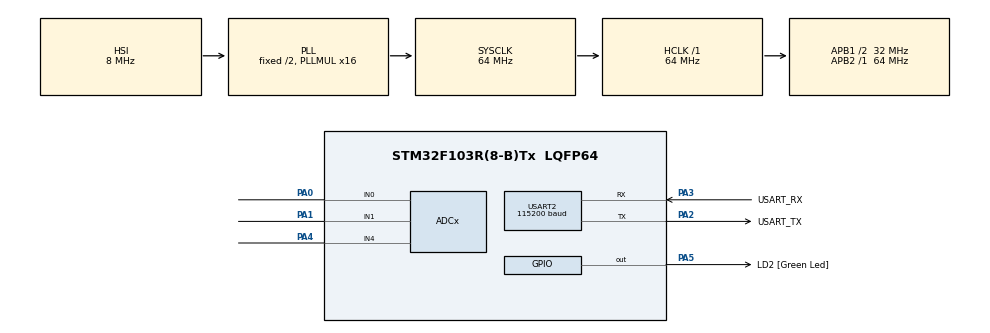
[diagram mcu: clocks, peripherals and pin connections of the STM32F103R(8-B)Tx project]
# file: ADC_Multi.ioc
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ADC1.Channel-0\#ChannelRegularConversion=ADC_CHANNEL_0
ADC1.Channel-1\#ChannelRegularConversion=ADC_CHANNEL_1
ADC1.Channel-2\#ChannelRegularConversion=ADC_CHANNEL_4
ADC1.Channel-3\#ChannelRegularConversion=ADC_CHANNEL_VREFINT
ADC1.ContinuousConvMode=DISABLE
ADC1.DiscontinuousConvMode=ENABLE
ADC1.ExternalTrigConv=ADC_SOFTWARE_START
ADC1.NbrOfConversion=4
ADC1.NbrOfDiscConversion=1
ADC1.Rank-0\#ChannelRegularConversion=ADC_REGULAR_RANK_1
ADC1.Rank-1\#ChannelRegularConversion=ADC_REGULAR_RANK_2
ADC1.Rank-2\#ChannelRegularConversion=ADC_REGULAR_RANK_3
ADC1.Rank-3\#ChannelRegularConversion=ADC_REGULAR_RANK_4
ADC1.SamplingTime-0\#ChannelRegularConversion=ADC_SAMPLETIME_55CYCLES_5
ADC1.SamplingTime-1\#ChannelRegularConversion=ADC_SAMPLETIME_55CYCLES_5
ADC1.SamplingTime-2\#ChannelRegularConversion=ADC_SAMPLETIME_55CYCLES_5
ADC1.SamplingTime-3\#ChannelRegularConversion=ADC_SAMPLETIME_239CYCLES_5
ADC1.ScanConvMode=ADC_SCAN_ENABLE
ADC1.master=1
Mcu.Family=STM32F1
Mcu.Name=STM32F103R(8-B)Tx
Mcu.Package=LQFP64
NVIC.PriorityGroup=NVIC_PRIORITYGROUP_4
PA0-WKUP.Mode=IN0
PA0-WKUP.Signal=ADCx_IN0
PA1.Mode=IN1
PA1.Signal=ADCx_IN1
PA13.GPIO_Label=TMS
PA13.Mode=Serial_Wire
PA13.Signal=SYS_JTMS-SWDIO
PA14.GPIO_Label=TCK
PA14.Mode=Serial_Wire
PA14.Signal=SYS_JTCK-SWCLK
PA2.GPIO_Label=USART_TX
PA2.GPIO_Mode=GPIO_MODE_AF_PP
PA2.GPIO_PuPd=GPIO_NOPULL
PA2.GPIO_Speed=GPIO_SPEED_FREQ_LOW
PA2.Mode=Asynchronous
PA2.Signal=USART2_TX
PA3.GPIO_Label=USART_RX
PA3.GPIO_PuPd=GPIO_NOPULL
PA3.GPIO_Speed=GPIO_SPEED_FREQ_LOW
PA3.Mode=Asynchronous
PA3.Signal=USART2_RX
PA4.Mode=IN4
PA4.Signal=ADCx_IN4
PA5.GPIO_Label=LD2 [Green Led]
PA5.GPIO_ModeDefaultOutputPP=GPIO_MODE_OUTPUT_PP
PA5.GPIO_PuPd=GPIO_NOPULL
PA5.GPIO_Speed=GPIO_SPEED_FREQ_LOW
PA5.Signal=GPIO_Output
PB3.GPIO_Label=SWO
PB3.Signal=SYS_JTDO-TRACESWO
PC14-OSC32_IN.Mode=LSE-External-Oscillator
PC14-OSC32_IN.Signal=RCC_OSC32_IN
PC15-OSC32_OUT.Mode=LSE-External-Oscillator
PC15-OSC32_OUT.Signal=RCC_OSC32_OUT
PD0-OSC_IN.Mode=HSE-External-Clock-Source
PD0-OSC_IN.Signal=RCC_OSC_IN
PD1-OSC_OUT.Mode=HSE-External-Clock-Source
PD1-OSC_OUT.Signal=RCC_OSC_OUT
ProjectManager.HeapSize=0x200
ProjectManager.StackSize=0x400
ProjectManager.TargetToolchain=STM32CubeIDE
RCC.ADCPresc=RCC_ADCPCLK2_DIV6
RCC.AHBFreq_Value=64000000
RCC.APB1CLKDivider=RCC_HCLK_DIV2
RCC.APB1Freq_Value=32000000
RCC.APB1TimFreq_Value=64000000
RCC.APB2Freq_Value=64000000
RCC.APB2TimFreq_Value=64000000
RCC.HCLKFreq_Value=64000000
RCC.PLLMUL=RCC_PLL_MUL16
RCC.RTCClockSelection=RCC_RTCCLKSOURCE_LSE
RCC.SYSCLKFreq_VALUE=64000000
RCC.SYSCLKSource=RCC_SYSCLKSOURCE_PLLCLK
RCC.USBFreq_Value=64000000
USART2.BaudRate=115200
USART2.VirtualMode=VM_ASYNC
VP_ADC1_Vref_Input.Mode=IN17
board=NUCLEO-F103RB

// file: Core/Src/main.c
/* USER CODE BEGIN Header */
/**
 ******************************************************************************
 * @file           : main.c
 * @brief          : Main program body
 ******************************************************************************
 * @attention
 *
 * Copyright (c) 2026 STMicroelectronics.
 * All rights reserved.
 *
 * This software is licensed under terms that can be found in the LICENSE file
 * in the root directory of this software component.
 * If no LICENSE file comes with this software, it is provided AS-IS.
 *
 ******************************************************************************
 */
/**
 * 02_ADC_Multi_HAL_c  —  [계층: HAL]  DMA 없이 여러 채널 읽기: 스캔 모드 + 불연속(discontinuous) 모드 + 폴링
 *
 * 문제: ADC1 레귤러 그룹의 결과 레지스터(DR)는 하나뿐이다. 스캔 모드로 4채널을 한 번에 변환하면
 *       채널마다 DR 이 덮어써지고, EOC 는 시퀀스 끝에서만 서므로 CPU 가 중간 값을 놓친다.
 *       (그래서 보통 DMA 를 쓴다 -> 03_ADC_DMA_TimTrigger_HAL_c)
 * 해법: 불연속 모드(DISCNUM = 1)를 켜면 트리거 1번에 시퀀스의 "다음 1채널"만 변환한다.
 *       Start -> 변환 완료 대기 -> DR 읽기 를 채널 수만큼 반복하면 순서대로 모든 채널을 얻는다.
 *       마지막 랭크까지 변환하면 다음 트리거는 다시 랭크 1부터 시작한다 (RM0008 11.3.10).
 *
 * 변환 시퀀스 (SQR3)
 *   랭크1 CH0  (PA0, Arduino A0)   샘플 55.5 사이클
 *   랭크2 CH1  (PA1, Arduino A1)   샘플 55.5 사이클
 *   랭크3 CH4  (PA4, Arduino A2)   샘플 55.5 사이클
 *   랭크4 CH17 (Vrefint, 내부)     샘플 239.5 사이클 (내부 소스 임피던스가 높음, 최소 17.1us)
 *
 * 동작
 *   - 4채널 스캔을 N_AVG 회 반복해 채널별 평균
 *   - Vrefint 로 실제 VDDA 를 역산하고 (05_ADC_Vrefint_VDDA_HAL_c 참고) 외부 채널을 mV 로 환산
 *   - 1초마다 UART(115200) 출력
 *
 * 하드웨어 대응 (RM0008)
 *   ADC1->CR1.SCAN = 1                 : 스캔 모드 (SQR 시퀀스를 순서대로)
 *   ADC1->CR1.DISCEN = 1, DISCNUM = 000 : 불연속 모드, 트리거당 1채널
 *   ADC1->CR2: EXTSEL = 111 (SWSTART), EXTTRIG = 1, CONT = 0, DMA = 0
 *   ADC1->SQR1.L = 3 (변환 4개), SQR3 = {CH0, CH1, CH4, CH17}
 *   ADC1->SMPR2 (CH0/1/4), SMPR1 (CH17), ADC1->CR2.TSVREFE (HAL 이 CH17 설정 시 자동으로 켬)
 *   ADC 클럭 = PCLK2(64MHz)/6 = 10.67MHz -> 외부 채널 (55.5+12.5)=68 사이클 = 6.4us, Vrefint 252 사이클 = 23.6us
 *
 * HAL 주의점: 스캔 모드(SQR1.L >= 1)에서는 EOC 가 채널마다 서지 않으므로 HAL_ADC_PollForConversion() 이
 *   EOC 를 기다리지 않고 "최대 변환 시간"만큼 소프트웨어 지연 후 반환한다 (stm32f1xx_hal_adc.c 주석 참고).
 *
 * 인터럽트를 사용하지 않는다 (폴링 변환). ISR 은 SysTick_Handler(stm32f1xx_it.c) 뿐이다.
 */
/* USER CODE END Header */
#include "main.h"

/* USER CODE BEGIN Includes */
#include <stdio.h>
/* USER CODE END Includes */

/* USER CODE BEGIN PD */
#define N_CH       4U
#define N_AVG      8U
#define VREFINT_MV 1200UL          /* 데이터시트 전형값 (개체 편차 1.16~1.24V) */

/* USER CODE END PD */

ADC_HandleTypeDef hadc1;
UART_HandleTypeDef huart2;

void SystemClock_Config(void);
static void MX_GPIO_Init(void);
static void MX_ADC1_Init(void);
static void MX_USART2_UART_Init(void);

/* USER CODE BEGIN 0 */
/* 시퀀스 1회(랭크1~4)를 채널 하나씩 변환해 out[] 에 저장 */
static void adc_scan_once(uint16_t out[N_CH])
{
    for (uint32_t r = 0; r < N_CH; r++)
    {
        HAL_ADC_Start(&hadc1);                                    /* CR2.SWSTART -> 다음 랭크 1채널 변환 */
        if (HAL_ADC_PollForConversion(&hadc1, 10) != HAL_OK) Error_Handler();   /* 스캔 모드: 변환 시간만큼 대기 */
        out[r] = (uint16_t)HAL_ADC_GetValue(&hadc1);              /* DR 읽기 (다음 변환 전에 읽어야 함) */
    }
    /* HAL_ADC_Stop() 은 호출하지 않는다: ADON 을 유지한 채 다음 Start 가 랭크1부터 이어진다 */
}
/* USER CODE END 0 */

int main(void)
{

  /* USER CODE BEGIN 1 */
  char msg[128];
  /* USER CODE END 1 */

  /* MCU Configuration--------------------------------------------------------*/

  /* Reset of all peripherals, Initializes the Flash interface and the Systick. */
  HAL_Init();

  /* Configure the system clock */
  SystemClock_Config();

  /* Initialize all configured peripherals */
  MX_GPIO_Init();
  MX_ADC1_Init();
  MX_USART2_UART_Init();
  /* USER CODE BEGIN 2 */
  if (HAL_ADCEx_Calibration_Start(&hadc1) != HAL_OK) Error_Handler();   /* ADC1->CR2.CAL */
  /* USER CODE END 2 */

  /* Infinite loop */
  while (1)
  {

    /* USER CODE BEGIN 3 */
    uint32_t sum[N_CH] = {0};
    uint16_t raw[N_CH];
    for (uint32_t i = 0; i < N_AVG; i++)
    {
      adc_scan_once(raw);
      for (uint32_t c = 0; c < N_CH; c++) sum[c] += raw[c];
    }
    uint32_t avg[N_CH];
    for (uint32_t c = 0; c < N_CH; c++) avg[c] = sum[c] / N_AVG;

    /* VDDA = Vrefint x 4095 / raw_vref,  V_ch = raw x VDDA / 4095 */
    uint32_t vdda_mv = (avg[3] != 0) ? VREFINT_MV * 4095UL / avg[3] : 0;
    int n = snprintf(msg, sizeof msg,
                     "A0=%4lu(%4lumV) A1=%4lu(%4lumV) A2=%4lu(%4lumV) | Vref=%4lu -> VDDA=%4lumV\r\n",
                     (unsigned long)avg[0], (unsigned long)(avg[0] * vdda_mv / 4095UL),
                     (unsigned long)avg[1], (unsigned long)(avg[1] * vdda_mv / 4095UL),
                     (unsigned long)avg[2], (unsigned long)(avg[2] * vdda_mv / 4095UL),
                     (unsigned long)avg[3], (unsigned long)vdda_mv);
    HAL_UART_Transmit(&huart2, (uint8_t *)msg, (uint16_t)n, 100);
    HAL_Delay(1000);
  }
  /* USER CODE END 3 */
}

void SystemClock_Config(void)
{
  RCC_OscInitTypeDef RCC_OscInitStruct = {0};
  RCC_ClkInitTypeDef RCC_ClkInitStruct = {0};
  RCC_PeriphCLKInitTypeDef PeriphClkInit = {0};

  /** Initializes the RCC Oscillators according to the specified parameters
  * in the RCC_OscInitTypeDef structure.
  */
  RCC_OscInitStruct.OscillatorType = RCC_OSCILLATORTYPE_HSI;
  RCC_OscInitStruct.HSIState = RCC_HSI_ON;
  RCC_OscInitStruct.HSICalibrationValue = RCC_HSICALIBRATION_DEFAULT;
  RCC_OscInitStruct.PLL.PLLState = RCC_PLL_ON;
  RCC_OscInitStruct.PLL.PLLSource = RCC_PLLSOURCE_HSI_DIV2;
  RCC_OscInitStruct.PLL.PLLMUL = RCC_PLL_MUL16;
  if (HAL_RCC_OscConfig(&RCC_OscInitStruct) != HAL_OK)
  {
    Error_Handler();
  }

  /** Initializes the CPU, AHB and APB buses clocks
  */
  RCC_ClkInitStruct.ClockType = RCC_CLOCKTYPE_HCLK|RCC_CLOCKTYPE_SYSCLK
                              |RCC_CLOCKTYPE_PCLK1|RCC_CLOCKTYPE_PCLK2;
  RCC_ClkInitStruct.SYSCLKSource = RCC_SYSCLKSOURCE_PLLCLK;
  RCC_ClkInitStruct.AHBCLKDivider = RCC_SYSCLK_DIV1;
  RCC_ClkInitStruct.APB1CLKDivider = RCC_HCLK_DIV2;
  RCC_ClkInitStruct.APB2CLKDivider = RCC_HCLK_DIV1;

  if (HAL_RCC_ClockConfig(&RCC_ClkInitStruct, FLASH_LATENCY_2) != HAL_OK)
  {
    Error_Handler();
  }

  PeriphClkInit.PeriphClockSelection = RCC_PERIPHCLK_ADC;
  PeriphClkInit.AdcClockSelection = RCC_ADCPCLK2_DIV6;
  if (HAL_RCCEx_PeriphCLKConfig(&PeriphClkInit) != HAL_OK)
  {
    Error_Handler();
  }
}

static void MX_ADC1_Init(void)
{

  ADC_ChannelConfTypeDef sConfig = {0};

  /** Common config
  */
  hadc1.Instance = ADC1;
  hadc1.Init.ScanConvMode = ADC_SCAN_ENABLE;
  hadc1.Init.ContinuousConvMode = DISABLE;
  hadc1.Init.DiscontinuousConvMode = ENABLE;
  hadc1.Init.NbrOfDiscConversion = 1;
  hadc1.Init.ExternalTrigConv = ADC_SOFTWARE_START;
  hadc1.Init.DataAlign = ADC_DATAALIGN_RIGHT;
  hadc1.Init.NbrOfConversion = 4;
  if (HAL_ADC_Init(&hadc1) != HAL_OK)
  {
    Error_Handler();
  }

  /** Configure Regular Channel
  */
  sConfig.Channel = ADC_CHANNEL_0;
  sConfig.Rank = ADC_REGULAR_RANK_1;
  sConfig.SamplingTime = ADC_SAMPLETIME_55CYCLES_5;
  if (HAL_ADC_ConfigChannel(&hadc1, &sConfig) != HAL_OK)
  {
    Error_Handler();
  }

  /** Configure Regular Channel
  */
  sConfig.Channel = ADC_CHANNEL_1;
  sConfig.Rank = ADC_REGULAR_RANK_2;
  sConfig.SamplingTime = ADC_SAMPLETIME_55CYCLES_5;
  if (HAL_ADC_ConfigChannel(&hadc1, &sConfig) != HAL_OK)
  {
    Error_Handler();
  }

  /** Configure Regular Channel
  */
  sConfig.Channel = ADC_CHANNEL_4;
  sConfig.Rank = ADC_REGULAR_RANK_3;
  sConfig.SamplingTime = ADC_SAMPLETIME_55CYCLES_5;
  if (HAL_ADC_ConfigChannel(&hadc1, &sConfig) != HAL_OK)
  {
    Error_Handler();
  }

  /** Configure Regular Channel
  */
  sConfig.Channel = ADC_CHANNEL_VREFINT;
  sConfig.Rank = ADC_REGULAR_RANK_4;
  sConfig.SamplingTime = ADC_SAMPLETIME_239CYCLES_5;
  if (HAL_ADC_ConfigChannel(&hadc1, &sConfig) != HAL_OK)
  {
    Error_Handler();
  }
  /* USER CODE BEGIN ADC1_Init 2 */
  /* 변환 시퀀스 (SQR3.SQ1~SQ4) / 샘플 시간 (SMPR2: CH0/1/4, SMPR1: CH17)
   *   랭크1 CH0 (PA0) 55.5, 랭크2 CH1 (PA1) 55.5, 랭크3 CH4 (PA4) 55.5, 랭크4 CH17 (Vrefint) 239.5 사이클
   * ADC1->CR1.SCAN = 1, CR1.DISCEN = 1, CR1.DISCNUM = 000 (트리거당 1채널), CR2.CONT = 0
   * ADC1->CR2.EXTSEL = 111 (SWSTART), ADC1->SQR1.L = 3 (변환 4개), CR2.ALIGN = 0
   * ADC 클럭 prescaler (RCC->CFGR.ADCPRE = 64MHz/6 = 10.67MHz) 는 SystemClock_Config() 에서 설정된다. */
  /* USER CODE END ADC1_Init 2 */

}

static void MX_USART2_UART_Init(void)
{

  huart2.Instance = USART2;
  huart2.Init.BaudRate = 115200;
  huart2.Init.WordLength = UART_WORDLENGTH_8B;
  huart2.Init.StopBits = UART_STOPBITS_1;
  huart2.Init.Parity = UART_PARITY_NONE;
  huart2.Init.Mode = UART_MODE_TX_RX;
  huart2.Init.HwFlowCtl = UART_HWCONTROL_NONE;
  huart2.Init.OverSampling = UART_OVERSAMPLING_16;
  if (HAL_UART_Init(&huart2) != HAL_OK)
  {
    Error_Handler();
  }

}

static void MX_GPIO_Init(void)
{
  GPIO_InitTypeDef GPIO_InitStruct = {0};

  /* GPIO Ports Clock Enable */
  __HAL_RCC_GPIOC_CLK_ENABLE();
  __HAL_RCC_GPIOD_CLK_ENABLE();
  __HAL_RCC_GPIOA_CLK_ENABLE();
  __HAL_RCC_GPIOB_CLK_ENABLE();

  /*Configure GPIO pin Output Level */
  HAL_GPIO_WritePin(LD2_GPIO_Port, LD2_Pin, GPIO_PIN_RESET);

  /*Configure GPIO pin : LD2_Pin */
  GPIO_InitStruct.Pin = LD2_Pin;
  GPIO_InitStruct.Mode = GPIO_MODE_OUTPUT_PP;
  GPIO_InitStruct.Pull = GPIO_NOPULL;
  GPIO_InitStruct.Speed = GPIO_SPEED_FREQ_LOW;
  HAL_GPIO_Init(LD2_GPIO_Port, &GPIO_InitStruct);

}

void Error_Handler(void)
{
  __disable_irq();
  while (1) {
  }
}
#ifdef USE_FULL_ASSERT
/**
  * @brief  Reports the name of the source file and the source line number
  *         where the assert_param error has occurred.
  * @param  file: pointer to the source file name
  * @param  line: assert_param error line source number
  * @retval None
  */
void assert_failed(uint8_t *file, uint32_t line)
{
  /* USER CODE BEGIN 6 */
  /* User can add his own implementation to report the file name and line
     number, ex: printf("Wrong parameters value: file %s on line %d\r\n", file,
     line) */
  /* USER CODE END 6 */
}
#endif /* USE_FULL_ASSERT */
